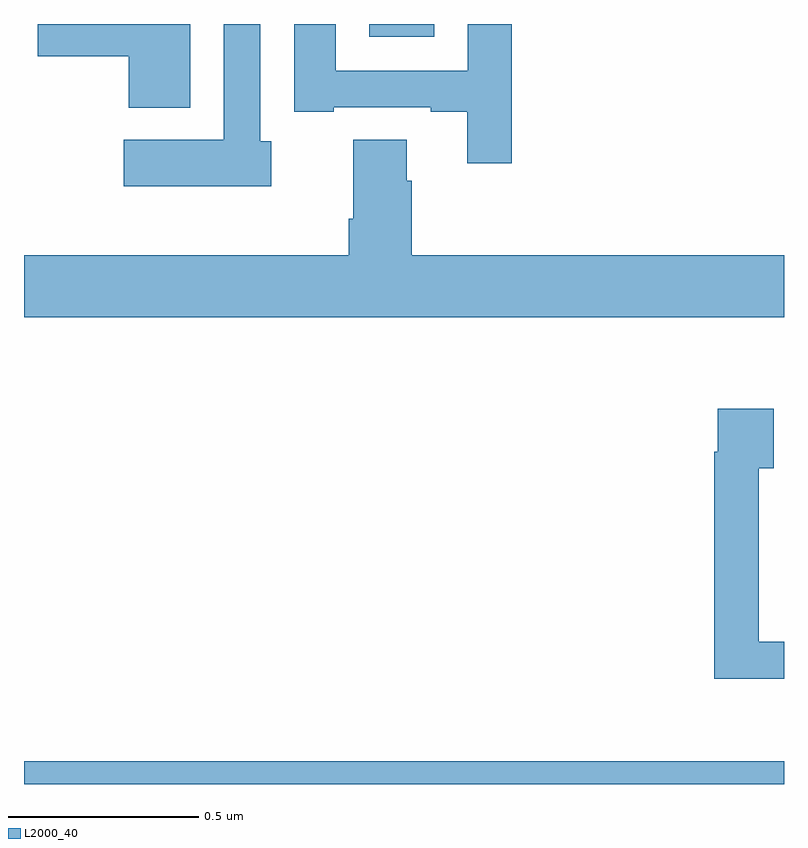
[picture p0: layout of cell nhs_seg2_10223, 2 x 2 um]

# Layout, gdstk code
import gdstk
lib = gdstk.Library(unit=1e-6, precision=1e-09)
def R(c, l, rs):  # rectangles x0, y0, x1, y1
    for r in rs: c.add(gdstk.rectangle(r[:2], r[2:], *l))
def P(c, l, *ps):  # polygons
    for p in ps: c.add(gdstk.Polygon(p, *l))
L2000_40 = (2000, 40)

nhs_seg2_10223 = lib.new_cell('nhs_seg2_10223')
R(nhs_seg2_10223, L2000_40, [(239,587.8,241,587.86), (239.909,589.766,240.079,589.8)])
P(nhs_seg2_10223, L2000_40, [(240.284,589.8),(240.168,589.8),(240.168,589.677),(239.821,589.677),(239.821,589.8),(239.711,589.8),(239.711,589.569),(239.815,589.569),(239.815,589.581),(240.071,589.581),(240.071,589.569),(240.167,589.569),(240.167,589.434),(240.284,589.434)],
  [(239.65,589.491),(239.622,589.491),(239.622,589.8),(239.526,589.8),(239.526,589.495),(239.262,589.495),(239.262,589.373),(239.65,589.373)],
  [(239.437,589.8),(239.036,589.8),(239.036,589.715),(239.276,589.715),(239.276,589.58),(239.437,589.58)],
  [(241,589.192),(240.02,589.192),(240.02,589.388),(240.007,589.388),(240.007,589.496),(239.867,589.496),(239.867,589.288),(239.855,589.288),(239.855,589.192),(239,589.192),(239,589.028),(241,589.028)],
  [(241,588.174),(240.933,588.174),(240.933,588.631),(240.973,588.631),(240.973,588.787),(240.825,588.787),(240.825,588.674),(240.817,588.674),(240.817,588.077),(241,588.077)])

lib.write_gds('nhs_seg2_10223.gds')
